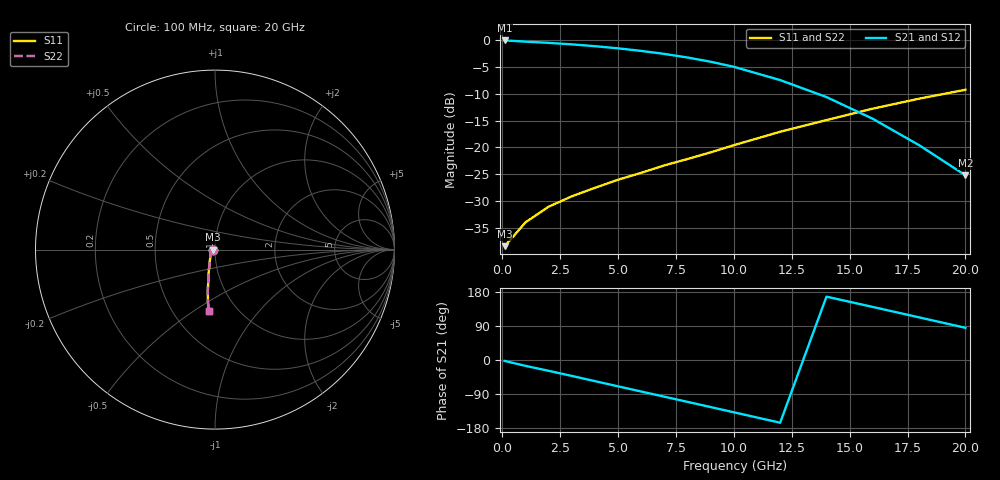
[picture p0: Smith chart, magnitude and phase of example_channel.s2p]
! Example 2-port S-parameter file
! PCIe Gen4 channel example
! Format: Frequency(GHz) S11(mag) S11(angle) S21(mag) S21(angle) S12(mag) S12(angle) S22(mag) S22(angle)
# GHZ S MA R 50
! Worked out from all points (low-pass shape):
!   17 points, 100 MHz to 20 GHz, reference 50 ohm
!   highest |S21| = -0.04 dB at 100 MHz (marker M1); lowest = -25.2 dB at 20 GHz (marker M2)
!   |S21| within 3 dB of the highest: start of sweep to 7.731 GHz
!   lowest |S11| = -38.4 dB at 100 MHz (marker M3), VSWR 1.02, Z = 48.8 - j0.102 ohm
!   |S11| at or under -10 dB: start of sweep to 19.09 GHz
!   |S22| runs from -38.4 to -9.2 dB; largest |S21 - S12| = 0
0.1  0.012 -175.0  0.995 -2.5  0.995 -2.5  0.012 -175.0
0.5  0.015 -168.0  0.985 -8.2  0.985 -8.2  0.015 -168.0
1  0.02 -155.0  0.97 -15.5  0.97 -15.5  0.02 -155.0
2  0.028 -142.0  0.945 -28.5  0.945 -28.5  0.028 -142.0
3  0.035 -135.0  0.915 -42.0  0.915 -42.0  0.035 -135.0
4  0.042 -128.0  0.88 -55.8  0.88 -55.8  0.042 -128.0
5  0.05 -122.0  0.84 -69.5  0.84 -69.5  0.05 -122.0
6  0.058 -118.0  0.795 -83.2  0.795 -83.2  0.058 -118.0
7  0.068 -115.0  0.745 -96.8  0.745 -96.8  0.068 -115.0
8  0.078 -112.0  0.69 -110.5  0.69 -110.5  0.078 -112.0
9  0.09 -110.0  0.63 -124.2  0.63 -124.2  0.09 -110.0
10  0.105 -108.0  0.565 -138.0  0.565 -138.0  0.105 -108.0
12  0.14 -105.0  0.425 -165.5  0.425 -165.5  0.14 -105.0
14  0.18 -102.0  0.295 -192.8  0.295 -192.8  0.18 -102.0
16  0.23 -100.0  0.185 -220.0  0.185 -220.0  0.23 -100.0
18  0.285 -98.0  0.105 -247.5  0.105 -247.5  0.285 -98.0
20  0.345 -96.0  0.055 -275.0  0.055 -275.0  0.345 -96.0
